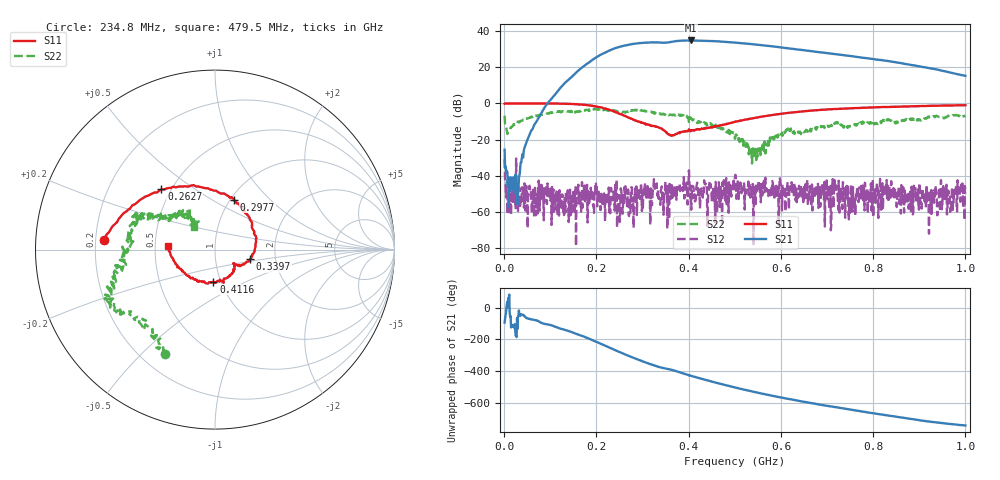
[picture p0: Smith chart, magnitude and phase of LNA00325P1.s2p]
! Created with skrf 1.9.0 (http://scikit-rf.org).
# Hz S RI R 50.0
!freq ReS11 ImS11 ReS21 ImS21 ReS12 ImS12 ReS22 ImS22
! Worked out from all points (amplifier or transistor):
!   1001 points, 1 MHz to 1 GHz, reference 50 ohm
!   highest |S21| = 34.9 dB at 404.6 MHz (marker M1)
!   |S21| within 3 dB of that: 258.8 MHz to 572 MHz (313.2 MHz wide, 75.4 % of centre)
!   unconditionally stable (mu >= 1): 205 MHz to 324.5 MHz; 324.8 MHz to 400.2 MHz; 401.2 MHz to end of sweep (the widest 3 of 30)
!   at 166.8 MHz: K = 4.19, MAG = 30.6 dB, |S12| = -60.0 dB
!   at 500.5 MHz: K = 1.17, MAG = 34.6 dB, |S12| = -40.4 dB
!   at 1 GHz: K = 3.92, MAG = 23.7 dB, |S12| = -49.9 dB
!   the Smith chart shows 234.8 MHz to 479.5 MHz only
!   S11 on the Smith chart (normalised r, x): 234.8 MHz: 0.23, +0.04; 262.7 MHz: 0.44, +0.37; 297.7 MHz: 1.04, +0.64; 339.7 MHz: 1.48, -0.17; 411.6 MHz: 0.92, -0.34; 479.5 MHz: 0.58, +0.03
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1000000  0.9823 0.00344  -0.00379 -0.0522  -0.0284 0.00332  0.2905 0.3556
1.08892e8  0.514 -0.8508  -0.7862 -1.486  0.00137 -0.000802  0.4139 -0.3765
1.67833e8  -0.2499 -0.8946  -9.683 -0.5801  -0.000422 -0.00195  0.0412 -0.6292
2.06794e8  -0.6708 -0.4193  -15.71 14.65  0.000394 0.00195  -0.1735 -0.6631
2.34766e8  -0.6203 0.0551  -5.895 31.29  -0.00185 0.00095  -0.2777 -0.5842
2.62738e8  -0.2982 0.3357  16.78 36.7  -0.0008 0.00503  -0.3842 -0.3954
2.97703e8  0.1068 0.2788  42.74 20.11  0.000862 0.00342  -0.5865 -0.2601
3.16684e8  0.2054 0.1345  48.77 4.788  0.000325 0.000287  -0.567 -0.1633
3.34666e8  0.2181 -0.0142  47.97 -9.874  -0.00185 0.00142  -0.5239 -0.0594
3.39661e8  0.1962 -0.0537  46.71 -13  0.00163 0.00353  -0.5188 -0.0428
3.72628e8  0.1113 -0.0908  41.88 -33.26  -0.00147 0.00408  -0.4667 0.1372
4.04596e8  0.0258 -0.178  21.04 -51.47  -0.00181 0.00488  -0.339 0.1897
4.11589e8  -0.00861 -0.1786  15.9 -52.92  -0.00211 0.00105  -0.3024 0.2001
4.43557e8  -0.1636 -0.1355  -8.524 -53.2  0.00165 0.0035  -0.1854 0.1985
4.79521e8  -0.2622 0.02  -30.19 -41.2  0.00182 0.00036  -0.1197 0.127
5.005e8  -0.2784 0.1416  -38.15 -30.47  0.00927 0.0023  -0.069 0.0791
5.4046e8  -0.1963 0.3401  -42.44 -9.174  0.000116 -2.32e-05  -0.0392 0.00906
5.88412e8  0.0176 0.4958  -35.49 11.33  0.00427 -0.00374  -0.0872 -0.092
6.67333e8  0.4 0.4958  -13.79 24.13  -0.000876 -0.00562  -0.1864 -0.0686
7.53247e8  0.6815 0.2799  4.023 19.93  -0.000551 -0.00229  -0.2343 -0.0349
8.34166e8  0.8006 0.00902  11 9.931  -9.91e-05 -0.00294  -0.3405 -0.0611
1e9  0.725 -0.5272  5.475 -1.939  -0.000184 0.00319  -0.4061 0.1996
